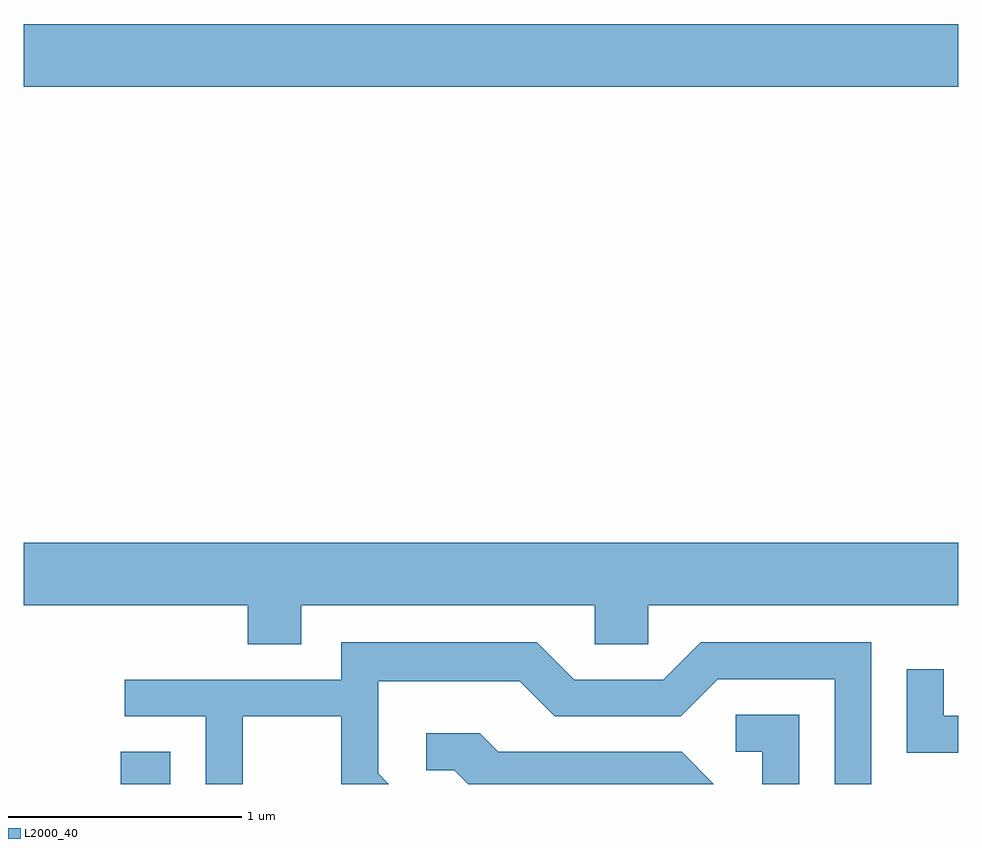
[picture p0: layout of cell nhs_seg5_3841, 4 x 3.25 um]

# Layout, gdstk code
import gdstk
lib = gdstk.Library(unit=1e-6, precision=1e-09)
def R(c, l, rs):  # rectangles x0, y0, x1, y1
    for r in rs: c.add(gdstk.rectangle(r[:2], r[2:], *l))
def P(c, l, *ps):  # polygons
    for p in ps: c.add(gdstk.Polygon(p, *l))
L2000_40 = (2000, 40)

nhs_seg5_3841 = lib.new_cell('nhs_seg5_3841')
R(nhs_seg5_3841, L2000_40, [(300.026,1416.072,300.239,1416.209), (299.611,1419.056,303.611,1419.324)])
P(nhs_seg5_3841, L2000_40, [(300.799,1416.836),(302.056,1416.836),(302.056,1416.671),(302.284,1416.671),(302.284,1416.836),(303.611,1416.836),(303.611,1417.104),(299.611,1417.104),(299.611,1416.836),(300.571,1416.836),(300.571,1416.671),(300.799,1416.671)],
  [(300.549,1416.361),(300.971,1416.361),(300.971,1416.072),(301.174,1416.072),(301.129,1416.117),(301.129,1416.511),(301.734,1416.511),(301.884,1416.361),(302.422,1416.361),(302.582,1416.521),(303.081,1416.521),(303.081,1416.072),(303.239,1416.072),(303.239,1416.679),(302.509,1416.679),(302.349,1416.519),(301.967,1416.519),(301.807,1416.679),(300.971,1416.679),(300.971,1416.519),(300.043,1416.519),(300.043,1416.361),(300.391,1416.361),(300.391,1416.072),(300.549,1416.072)],
  [(303.611,1416.364),(303.549,1416.364),(303.549,1416.563),(303.391,1416.563),(303.391,1416.206),(303.611,1416.206)],
  [(302.929,1416.369),(302.658,1416.369),(302.658,1416.211),(302.771,1416.211),(302.771,1416.072),(302.929,1416.072)],
  [(302.427,1416.209),(301.642,1416.209),(301.562,1416.289),(301.333,1416.289),(301.333,1416.131),(301.454,1416.131),(301.513,1416.072),(302.564,1416.072)])

lib.write_gds('nhs_seg5_3841.gds')
